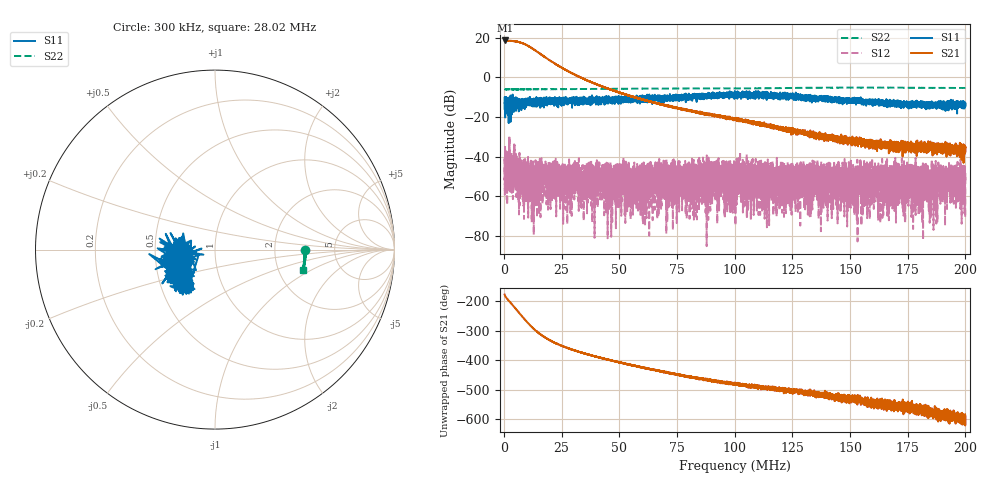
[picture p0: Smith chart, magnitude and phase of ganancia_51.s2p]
# Hz S DB R 50
! CMT, M5065, 19127446, 24.2.4/2
! Date: 11/8/2024 3:30:45 PM
! Data: Format (Calibration Info)
! Freq	S11:dB/Ang(F2)	S21:dB/Ang(F2)	S12:dB/Ang(F2)	S22:dB/Ang(F2)
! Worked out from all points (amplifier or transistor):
!   9000 points, 300 kHz to 200 MHz, reference 50 ohm
!   highest |S21| = 18.6 dB at 388.8 kHz (marker M1)
!   |S21| within 3 dB of that: start of sweep to 10.86 MHz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
!   unconditionally stable (mu >= 1): start of sweep to end of sweep
!   at 33.59 MHz: K = 87.82, MAG = 1.4 dB, |S12| = -47.8 dB
!   at 100.2 MHz: K = 757.90, MAG = -18.6 dB, |S12| = -47.1 dB
!   at 200 MHz: K = 7739.19, MAG = -33.5 dB, |S12| = -52.0 dB
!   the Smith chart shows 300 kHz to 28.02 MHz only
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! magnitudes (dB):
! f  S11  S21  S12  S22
! 300 kHz  -15.8  18.5  -40.3  -5.9
! 388.8 kHz  -13.7  18.6  -59.1  -6.0
! 1.387 MHz  -11.8  18.5  -45.6  -6.1
! 3.917 MHz  -11.8  18.3  -39.6  -5.9
! 13.42 MHz  -12.9  13.7  -44.4  -5.9
! 32.23 MHz  -11.5  0.5  -45.4  -5.9
! 33.59 MHz  -12.0  -0.2  -47.8  -5.9
! 40.58 MHz  -12.0  -3.7  -49.4  -5.8
! 45.95 MHz  -10.8  -6.0  -57.7  -5.8
! 52.41 MHz  -11.5  -8.6  -42.5  -5.7
! 62.17 MHz  -10.1  -11.8  -47.5  -5.7
! 66.87 MHz  -9.3  -13.0  -43.5  -5.6
! 71.38 MHz  -10.1  -14.6  -55.9  -5.6
! 78.66 MHz  -8.5  -16.5  -61.2  -5.6
! 87.93 MHz  -10.8  -18.6  -63.9  -5.6
! 91.79 MHz  -9.3  -18.9  -48.3  -5.6
! 100.2 MHz  -8.6  -20.7  -47.1  -5.5
! 101.7 MHz  -8.3  -21.1  -54.0  -5.6
! 104.5 MHz  -7.6  -21.7  -45.9  -5.5
! 133.4 MHz  -11.0  -28.6  -46.3  -5.3
! 166.7 MHz  -12.5  -34.4  -46.7  -5.2
! 200 MHz  -14.3  -35.1  -52.0  -5.3
